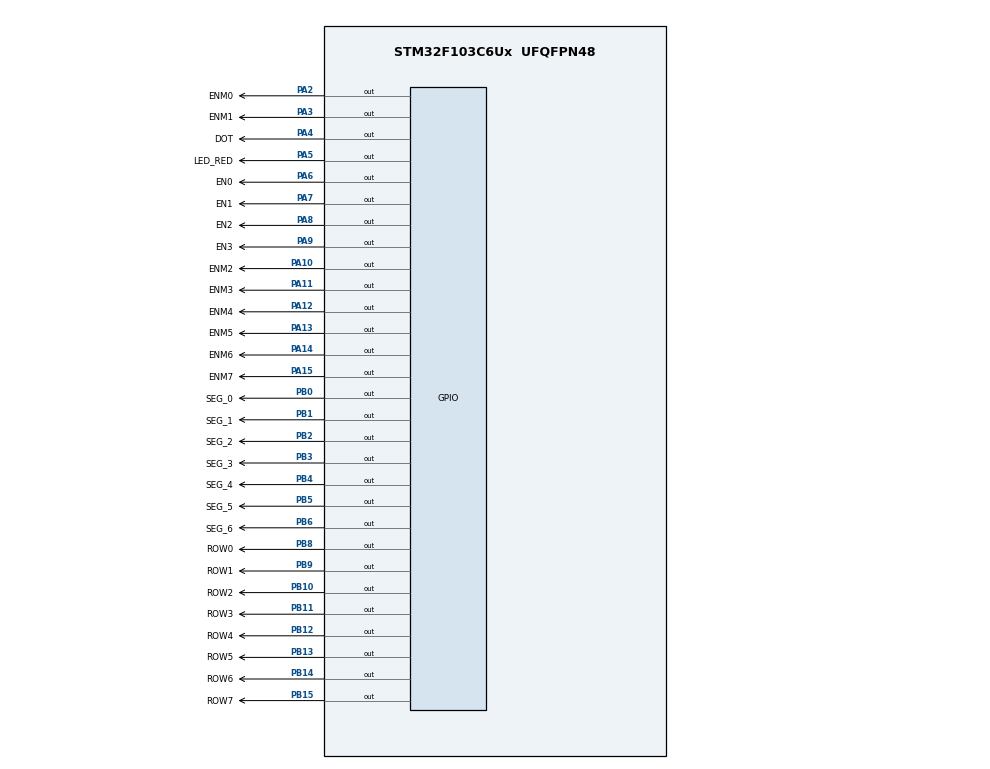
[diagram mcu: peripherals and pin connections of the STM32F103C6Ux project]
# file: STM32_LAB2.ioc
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Mcu.Family=STM32F1
Mcu.Name=STM32F103C6Ux
Mcu.Package=UFQFPN48
NVIC.PriorityGroup=NVIC_PRIORITYGROUP_4
NVIC.TIM2_IRQn=true\:0\:0\:false\:false\:true\:true\:true
PA10.GPIO_Label=ENM2
PA10.Signal=GPIO_Output
PA11.GPIO_Label=ENM3
PA11.Signal=GPIO_Output
PA12.GPIO_Label=ENM4
PA12.Signal=GPIO_Output
PA13.GPIO_Label=ENM5
PA13.Signal=GPIO_Output
PA14.GPIO_Label=ENM6
PA14.Signal=GPIO_Output
PA15.GPIO_Label=ENM7
PA15.Signal=GPIO_Output
PA2.GPIO_Label=ENM0
PA2.Signal=GPIO_Output
PA3.GPIO_Label=ENM1
PA3.Signal=GPIO_Output
PA4.GPIO_Label=DOT
PA4.GPIO_PuPd=GPIO_NOPULL
PA4.Signal=GPIO_Output
PA5.GPIO_Label=LED_RED
PA5.Signal=GPIO_Output
PA6.GPIO_Label=EN0
PA6.GPIO_PuPd=GPIO_NOPULL
PA6.Signal=GPIO_Output
PA7.GPIO_Label=EN1
PA7.GPIO_PuPd=GPIO_NOPULL
PA7.Signal=GPIO_Output
PA8.GPIO_Label=EN2
PA8.GPIO_PuPd=GPIO_NOPULL
PA8.Signal=GPIO_Output
PA9.GPIO_Label=EN3
PA9.GPIO_PuPd=GPIO_NOPULL
PA9.Signal=GPIO_Output
PB0.GPIO_Label=SEG_0
PB0.GPIO_PuPd=GPIO_NOPULL
PB0.Signal=GPIO_Output
PB1.GPIO_Label=SEG_1
PB1.GPIO_PuPd=GPIO_NOPULL
PB1.Signal=GPIO_Output
PB10.GPIO_Label=ROW2
PB10.Signal=GPIO_Output
PB11.GPIO_Label=ROW3
PB11.Signal=GPIO_Output
PB12.GPIO_Label=ROW4
PB12.Signal=GPIO_Output
PB13.GPIO_Label=ROW5
PB13.Signal=GPIO_Output
PB14.GPIO_Label=ROW6
PB14.Signal=GPIO_Output
PB15.GPIO_Label=ROW7
PB15.Signal=GPIO_Output
PB2.GPIO_Label=SEG_2
PB2.GPIO_PuPd=GPIO_NOPULL
PB2.Signal=GPIO_Output
PB3.GPIO_Label=SEG_3
PB3.GPIO_PuPd=GPIO_NOPULL
PB3.Signal=GPIO_Output
PB4.GPIO_Label=SEG_4
PB4.GPIO_PuPd=GPIO_NOPULL
PB4.Signal=GPIO_Output
PB5.GPIO_Label=SEG_5
PB5.GPIO_PuPd=GPIO_NOPULL
PB5.Signal=GPIO_Output
PB6.GPIO_Label=SEG_6
PB6.GPIO_PuPd=GPIO_NOPULL
PB6.Signal=GPIO_Output
PB8.GPIO_Label=ROW0
PB8.Signal=GPIO_Output
PB9.GPIO_Label=ROW1
PB9.Signal=GPIO_Output
ProjectManager.HeapSize=0x200
ProjectManager.StackSize=0x400
ProjectManager.TargetToolchain=STM32CubeIDE
RCC.APB1Freq_Value=8000000
RCC.APB2Freq_Value=8000000
TIM2.Period=9
TIM2.Prescaler=7999
VP_SYS_VS_ND.Mode=No_Debug
VP_TIM2_VS_ClockSourceINT.Mode=Internal
board=custom

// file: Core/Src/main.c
/* USER CODE BEGIN Header */
/**
  ******************************************************************************
  * @file           : main.c
  * @brief          : Main program body
  ******************************************************************************
  * @attention
  *
  * <h2><center>&copy; Copyright (c) 2024 STMicroelectronics.
  * All rights reserved.</center></h2>
  *
  * This software component is licensed by ST under BSD 3-Clause license,
  * the "License"; You may not use this file except in compliance with the
  * License. You may obtain a copy of the License at:
  *                        opensource.org/licenses/BSD-3-Clause
  *
  ******************************************************************************
  */
/* USER CODE END Header */
#include "main.h"

/* USER CODE BEGIN Includes */
#include "software_timer.h"
/* USER CODE END Includes */

TIM_HandleTypeDef htim2;

/* USER CODE BEGIN PV */
int status = 0;
const int MAX_LED = 4;
int index_led = 0;
int led_buffer [4] = {1, 2, 3, 4};
int hour = 15, minute = 8, second = 50;
const int MAX_LED_MATRIX = 8;
int index_led_matrix = 0;
//uint8_t matrix_buffer [8] = {0x01 , 0x02 , 0x03 , 0x04 , 0x05 , 0x06 , 0x07 , 0x08};
uint8_t matrix_buffer [8] = {0xFF , 0x03 , 0x01 , 0xCC , 0xCC , 0x01 , 0x03 , 0xFF};
uint8_t matrix_buffer1 [8] = {0x01 , 0x02 , 0x04 , 0x08 , 0x10 , 0x20 , 0x40 , 0x80};
/* USER CODE END PV */

void SystemClock_Config(void);
static void MX_TIM2_Init(void);
static void MX_GPIO_Init(void);

int main(void)
{

  /* MCU Configuration--------------------------------------------------------*/

  /* Reset of all peripherals, Initializes the Flash interface and the Systick. */
  HAL_Init();

  /* Configure the system clock */
  SystemClock_Config();

  /* Initialize all configured peripherals */
  MX_TIM2_Init();
  MX_GPIO_Init();
  /* USER CODE BEGIN 2 */
HAL_TIM_Base_Start_IT(&htim2);
  /* USER CODE END 2 */

  /* Infinite loop */
  /* USER CODE BEGIN WHILE */
setTimer(0, 30);
setTimer(1, 70);
setTimer(2, 57);
setTimer(3, 9);
setTimer(4, 22);
setTimer(5, 17);
setTimer(6, 11);
setTimer(7, 80);
//initEx1();
//initEx2();
//initEx3();
//initEx5();
  while (1)
  {
	  //Init BLINKY
	  if(timer_flag[0] == 1){
		  setTimer(0, 100);
		  HAL_GPIO_TogglePin(LED_RED_GPIO_Port, LED_RED_Pin);
	  }
	  //EX1
//	  if(timer_flag[1] == 1){
//		  setTimer(1, 50);
//		  switch(status){
//			  case 0:
//				  status = 1;
//				  HAL_GPIO_WritePin(EN0_GPIO_Port, EN0_Pin, SET);
//				  HAL_GPIO_WritePin(EN1_GPIO_Port, EN1_Pin, RESET);
//				  display7SEG(2);
//				  break;
//			  case 1:
//				  status = 0;
//				  HAL_GPIO_WritePin(EN0_GPIO_Port, EN0_Pin, RESET);
//				  HAL_GPIO_WritePin(EN1_GPIO_Port, EN1_Pin, SET);
//				  display7SEG(1);
//				  break;
//			  default:
//				  status = 0;
//
//		  }
//	  }
	  //EX2
//	  if(timer_flag[2] == 1){
//		  setTimer(2, 50);
//		  switch(status){
//			  case 0:
//				  status = 1;
//				  HAL_GPIO_WritePin(EN0_GPIO_Port, EN0_Pin, RESET);
//				  HAL_GPIO_WritePin(EN1_GPIO_Port, EN1_Pin, SET);
//				  HAL_GPIO_WritePin(EN2_GPIO_Port, EN2_Pin, SET);
//				  HAL_GPIO_WritePin(EN3_GPIO_Port, EN3_Pin, SET);
//				  display7SEG(1);
//				  HAL_GPIO_WritePin(DOT_GPIO_Port, DOT_Pin, RESET);
//				  break;
//			  case 1:
//				  status = 2;
//				  HAL_GPIO_WritePin(EN0_GPIO_Port, EN0_Pin, SET);
//				  HAL_GPIO_WritePin(EN1_GPIO_Port, EN1_Pin, RESET);
//				  HAL_GPIO_WritePin(EN2_GPIO_Port, EN2_Pin, SET);
//				  HAL_GPIO_WritePin(EN3_GPIO_Port, EN3_Pin, SET);
//				  display7SEG(2);
//				  break;
//			  case 2:
//				  status = 3;
//				  HAL_GPIO_WritePin(EN0_GPIO_Port, EN0_Pin, SET);
//				  HAL_GPIO_WritePin(EN1_GPIO_Port, EN1_Pin, SET);
//				  HAL_GPIO_WritePin(EN2_GPIO_Port, EN2_Pin, RESET);
//				  HAL_GPIO_WritePin(EN3_GPIO_Port, EN3_Pin, SET);
//				  display7SEG(3);
//				  HAL_GPIO_WritePin(DOT_GPIO_Port, DOT_Pin, SET);
//				  break;
//			  case 3:
//				  status = 0;
//				  HAL_GPIO_WritePin(EN0_GPIO_Port, EN0_Pin, SET);
//				  HAL_GPIO_WritePin(EN1_GPIO_Port, EN1_Pin, SET);
//				  HAL_GPIO_WritePin(EN2_GPIO_Port, EN2_Pin, SET);
//				  HAL_GPIO_WritePin(EN3_GPIO_Port, EN3_Pin, RESET);
//				  display7SEG(0);
//				  break;
//			  default:
//				  status = 0;
//		  }
//	  }
	  //EX3
	  if(timer_flag[3] == 1){
		  setTimer(3, 50);//EX4 setTimer(3, 100);
		  if(index_led >= MAX_LED || index_led < 0){
			  index_led = 0;
		  }
		  update7SEG(index_led++);
	  }
	  //DOT
	  if(timer_flag[4] == 1){
		  setTimer(4, 100);
		  HAL_GPIO_TogglePin(DOT_GPIO_Port, DOT_Pin);
	  }
	  //EX5
	  if(timer_flag[5] == 1){
		  setTimer(5, 100);
		  second++;
		  if ( second >= 60) {
		  second = 0;
		  minute ++;
		  }
		  if( minute >= 60) {
		  minute = 0;
		  hour ++;
		  }
		  if( hour >=24){
		  hour = 0;
		  }
		  updateClockBuffer ();
	  }
	  //EX9
	  if(timer_flag[7] == 0){
	  if(timer_flag[6] == 1){
		  setTimer(6, 1);
		  if(index_led_matrix >= MAX_LED_MATRIX || index_led_matrix < 0){
			  index_led_matrix = 0;
		  }
		  updateLEDMatrix(index_led_matrix++);
	  }
	  }
	  //EX10
	  if(timer_flag[7] == 1){
		  setTimer(7, 100);
		  for(int i = 0; i < MAX_LED_MATRIX; i++){
			  matrix_buffer[i] = matrix_buffer[(i+1)%8];
		  }
	  }
    /* USER CODE END WHILE */

  }
}

void SystemClock_Config(void)
{
  RCC_OscInitTypeDef RCC_OscInitStruct = {0};
  RCC_ClkInitTypeDef RCC_ClkInitStruct = {0};

  /** Initializes the RCC Oscillators according to the specified parameters
  * in the RCC_OscInitTypeDef structure.
  */
  RCC_OscInitStruct.OscillatorType = RCC_OSCILLATORTYPE_HSI;
  RCC_OscInitStruct.HSIState = RCC_HSI_ON;
  RCC_OscInitStruct.HSICalibrationValue = RCC_HSICALIBRATION_DEFAULT;
  RCC_OscInitStruct.PLL.PLLState = RCC_PLL_NONE;
  if (HAL_RCC_OscConfig(&RCC_OscInitStruct) != HAL_OK)
  {
    Error_Handler();
  }
  /** Initializes the CPU, AHB and APB buses clocks
  */
  RCC_ClkInitStruct.ClockType = RCC_CLOCKTYPE_HCLK|RCC_CLOCKTYPE_SYSCLK
                              |RCC_CLOCKTYPE_PCLK1|RCC_CLOCKTYPE_PCLK2;
  RCC_ClkInitStruct.SYSCLKSource = RCC_SYSCLKSOURCE_HSI;
  RCC_ClkInitStruct.AHBCLKDivider = RCC_SYSCLK_DIV1;
  RCC_ClkInitStruct.APB1CLKDivider = RCC_HCLK_DIV1;
  RCC_ClkInitStruct.APB2CLKDivider = RCC_HCLK_DIV1;

  if (HAL_RCC_ClockConfig(&RCC_ClkInitStruct, FLASH_LATENCY_0) != HAL_OK)
  {
    Error_Handler();
  }
}

static void MX_TIM2_Init(void)
{

  TIM_ClockConfigTypeDef sClockSourceConfig = {0};
  TIM_MasterConfigTypeDef sMasterConfig = {0};

  htim2.Instance = TIM2;
  htim2.Init.Prescaler = 7999;
  htim2.Init.CounterMode = TIM_COUNTERMODE_UP;
  htim2.Init.Period = 9;
  htim2.Init.ClockDivision = TIM_CLOCKDIVISION_DIV1;
  htim2.Init.AutoReloadPreload = TIM_AUTORELOAD_PRELOAD_DISABLE;
  if (HAL_TIM_Base_Init(&htim2) != HAL_OK)
  {
    Error_Handler();
  }
  sClockSourceConfig.ClockSource = TIM_CLOCKSOURCE_INTERNAL;
  if (HAL_TIM_ConfigClockSource(&htim2, &sClockSourceConfig) != HAL_OK)
  {
    Error_Handler();
  }
  sMasterConfig.MasterOutputTrigger = TIM_TRGO_RESET;
  sMasterConfig.MasterSlaveMode = TIM_MASTERSLAVEMODE_DISABLE;
  if (HAL_TIMEx_MasterConfigSynchronization(&htim2, &sMasterConfig) != HAL_OK)
  {
    Error_Handler();
  }

}

static void MX_GPIO_Init(void)
{
  GPIO_InitTypeDef GPIO_InitStruct = {0};

  /* GPIO Ports Clock Enable */
  __HAL_RCC_GPIOA_CLK_ENABLE();
  __HAL_RCC_GPIOB_CLK_ENABLE();

  /*Configure GPIO pin Output Level */
  HAL_GPIO_WritePin(GPIOA, ENM0_Pin|ENM1_Pin|DOT_Pin|LED_RED_Pin
                          |EN0_Pin|EN1_Pin|EN2_Pin|EN3_Pin
                          |ENM2_Pin|ENM3_Pin|ENM4_Pin|ENM5_Pin
                          |ENM6_Pin|ENM7_Pin, GPIO_PIN_RESET);

  /*Configure GPIO pin Output Level */
  HAL_GPIO_WritePin(GPIOB, SEG_0_Pin|SEG_1_Pin|SEG_2_Pin|ROW2_Pin
                          |ROW3_Pin|ROW4_Pin|ROW5_Pin|ROW6_Pin
                          |ROW7_Pin|SEG_3_Pin|SEG_4_Pin|SEG_5_Pin
                          |SEG_6_Pin|ROW0_Pin|ROW1_Pin, GPIO_PIN_RESET);

  /*Configure GPIO pins : ENM0_Pin ENM1_Pin DOT_Pin LED_RED_Pin
                           EN0_Pin EN1_Pin EN2_Pin EN3_Pin
                           ENM2_Pin ENM3_Pin ENM4_Pin ENM5_Pin
                           ENM6_Pin ENM7_Pin */
  GPIO_InitStruct.Pin = ENM0_Pin|ENM1_Pin|DOT_Pin|LED_RED_Pin
                          |EN0_Pin|EN1_Pin|EN2_Pin|EN3_Pin
                          |ENM2_Pin|ENM3_Pin|ENM4_Pin|ENM5_Pin
                          |ENM6_Pin|ENM7_Pin;
  GPIO_InitStruct.Mode = GPIO_MODE_OUTPUT_PP;
  GPIO_InitStruct.Pull = GPIO_NOPULL;
  GPIO_InitStruct.Speed = GPIO_SPEED_FREQ_LOW;
  HAL_GPIO_Init(GPIOA, &GPIO_InitStruct);

  /*Configure GPIO pins : SEG_0_Pin SEG_1_Pin SEG_2_Pin ROW2_Pin
                           ROW3_Pin ROW4_Pin ROW5_Pin ROW6_Pin
                           ROW7_Pin SEG_3_Pin SEG_4_Pin SEG_5_Pin
                           SEG_6_Pin ROW0_Pin ROW1_Pin */
  GPIO_InitStruct.Pin = SEG_0_Pin|SEG_1_Pin|SEG_2_Pin|ROW2_Pin
                          |ROW3_Pin|ROW4_Pin|ROW5_Pin|ROW6_Pin
                          |ROW7_Pin|SEG_3_Pin|SEG_4_Pin|SEG_5_Pin
                          |SEG_6_Pin|ROW0_Pin|ROW1_Pin;
  GPIO_InitStruct.Mode = GPIO_MODE_OUTPUT_PP;
  GPIO_InitStruct.Pull = GPIO_NOPULL;
  GPIO_InitStruct.Speed = GPIO_SPEED_FREQ_LOW;
  HAL_GPIO_Init(GPIOB, &GPIO_InitStruct);

}

/* USER CODE BEGIN 4 */
void HAL_TIM_PeriodElapsedCallback(TIM_HandleTypeDef *htim){
	for(int i = 0; i < no_timer; i++){
		runTimer(i);
	}
}
void display7SEG(int num){
	switch(num){
		case 0:
			HAL_GPIO_WritePin(SEG_0_GPIO_Port, SEG_0_Pin, RESET);
			HAL_GPIO_WritePin(SEG_1_GPIO_Port, SEG_1_Pin, RESET);
			HAL_GPIO_WritePin(SEG_2_GPIO_Port, SEG_2_Pin, RESET);
			HAL_GPIO_WritePin(SEG_3_GPIO_Port, SEG_3_Pin, RESET);
			HAL_GPIO_WritePin(SEG_4_GPIO_Port, SEG_4_Pin, RESET);
			HAL_GPIO_WritePin(SEG_5_GPIO_Port, SEG_5_Pin, RESET);
			HAL_GPIO_WritePin(SEG_6_GPIO_Port, SEG_6_Pin, SET);
			break;
		case 1:
			HAL_GPIO_WritePin(SEG_0_GPIO_Port, SEG_0_Pin, SET);
			HAL_GPIO_WritePin(SEG_1_GPIO_Port, SEG_1_Pin, RESET);
			HAL_GPIO_WritePin(SEG_2_GPIO_Port, SEG_2_Pin, RESET);
			HAL_GPIO_WritePin(SEG_3_GPIO_Port, SEG_3_Pin, SET);
			HAL_GPIO_WritePin(SEG_4_GPIO_Port, SEG_4_Pin, SET);
			HAL_GPIO_WritePin(SEG_5_GPIO_Port, SEG_5_Pin, SET);
			HAL_GPIO_WritePin(SEG_6_GPIO_Port, SEG_6_Pin, SET);
			break;
		case 2:
			HAL_GPIO_WritePin(SEG_0_GPIO_Port, SEG_0_Pin, RESET);
			HAL_GPIO_WritePin(SEG_1_GPIO_Port, SEG_1_Pin, RESET);
			HAL_GPIO_WritePin(SEG_2_GPIO_Port, SEG_2_Pin, SET);
			HAL_GPIO_WritePin(SEG_3_GPIO_Port, SEG_3_Pin, RESET);
			HAL_GPIO_WritePin(SEG_4_GPIO_Port, SEG_4_Pin, RESET);
			HAL_GPIO_WritePin(SEG_5_GPIO_Port, SEG_5_Pin, SET);
			HAL_GPIO_WritePin(SEG_6_GPIO_Port, SEG_6_Pin, RESET);
			break;
		case 3:
			HAL_GPIO_WritePin(SEG_0_GPIO_Port, SEG_0_Pin, RESET);
			HAL_GPIO_WritePin(SEG_1_GPIO_Port, SEG_1_Pin, RESET);
			HAL_GPIO_WritePin(SEG_2_GPIO_Port, SEG_2_Pin, RESET);
			HAL_GPIO_WritePin(SEG_3_GPIO_Port, SEG_3_Pin, RESET);
			HAL_GPIO_WritePin(SEG_4_GPIO_Port, SEG_4_Pin, SET);
			HAL_GPIO_WritePin(SEG_5_GPIO_Port, SEG_5_Pin, SET);
			HAL_GPIO_WritePin(SEG_6_GPIO_Port, SEG_6_Pin, RESET);
			break;
		case 4:
			HAL_GPIO_WritePin(SEG_0_GPIO_Port, SEG_0_Pin, SET);
			HAL_GPIO_WritePin(SEG_1_GPIO_Port, SEG_1_Pin, RESET);
			HAL_GPIO_WritePin(SEG_2_GPIO_Port, SEG_2_Pin, RESET);
			HAL_GPIO_WritePin(SEG_3_GPIO_Port, SEG_3_Pin, SET);
			HAL_GPIO_WritePin(SEG_4_GPIO_Port, SEG_4_Pin, SET);
			HAL_GPIO_WritePin(SEG_5_GPIO_Port, SEG_5_Pin, RESET);
			HAL_GPIO_WritePin(SEG_6_GPIO_Port, SEG_6_Pin, RESET);
			break;
		case 5:
			HAL_GPIO_WritePin(SEG_0_GPIO_Port, SEG_0_Pin, RESET);
			HAL_GPIO_WritePin(SEG_1_GPIO_Port, SEG_1_Pin, SET);
			HAL_GPIO_WritePin(SEG_2_GPIO_Port, SEG_2_Pin, RESET);
			HAL_GPIO_WritePin(SEG_3_GPIO_Port, SEG_3_Pin, RESET);
			HAL_GPIO_WritePin(SEG_4_GPIO_Port, SEG_4_Pin, SET);
			HAL_GPIO_WritePin(SEG_5_GPIO_Port, SEG_5_Pin, RESET);
			HAL_GPIO_WritePin(SEG_6_GPIO_Port, SEG_6_Pin, RESET);
			break;
		case 6:
			HAL_GPIO_WritePin(SEG_0_GPIO_Port, SEG_0_Pin, RESET);
			HAL_GPIO_WritePin(SEG_1_GPIO_Port, SEG_1_Pin, SET);
			HAL_GPIO_WritePin(SEG_2_GPIO_Port, SEG_2_Pin, RESET);
			HAL_GPIO_WritePin(SEG_3_GPIO_Port, SEG_3_Pin, RESET);
			HAL_GPIO_WritePin(SEG_4_GPIO_Port, SEG_4_Pin, RESET);
			HAL_GPIO_WritePin(SEG_5_GPIO_Port, SEG_5_Pin, RESET);
			HAL_GPIO_WritePin(SEG_6_GPIO_Port, SEG_6_Pin, RESET);
			break;
		case 7:
			HAL_GPIO_WritePin(SEG_0_GPIO_Port, SEG_0_Pin, RESET);
			HAL_GPIO_WritePin(SEG_1_GPIO_Port, SEG_1_Pin, RESET);
			HAL_GPIO_WritePin(SEG_2_GPIO_Port, SEG_2_Pin, RESET);
			HAL_GPIO_WritePin(SEG_3_GPIO_Port, SEG_3_Pin, SET);
			HAL_GPIO_WritePin(SEG_4_GPIO_Port, SEG_4_Pin, SET);
			HAL_GPIO_WritePin(SEG_5_GPIO_Port, SEG_5_Pin, SET);
			HAL_GPIO_WritePin(SEG_6_GPIO_Port, SEG_6_Pin, SET);
			break;
		case 8:
			HAL_GPIO_WritePin(SEG_0_GPIO_Port, SEG_0_Pin, RESET);
			HAL_GPIO_WritePin(SEG_1_GPIO_Port, SEG_1_Pin, RESET);
			HAL_GPIO_WritePin(SEG_2_GPIO_Port, SEG_2_Pin, RESET);
			HAL_GPIO_WritePin(SEG_3_GPIO_Port, SEG_3_Pin, RESET);
			HAL_GPIO_WritePin(SEG_4_GPIO_Port, SEG_4_Pin, RESET);
			HAL_GPIO_WritePin(SEG_5_GPIO_Port, SEG_5_Pin, RESET);
			HAL_GPIO_WritePin(SEG_6_GPIO_Port, SEG_6_Pin, RESET);
			break;
		case 9:
			HAL_GPIO_WritePin(SEG_0_GPIO_Port, SEG_0_Pin, RESET);
			HAL_GPIO_WritePin(SEG_1_GPIO_Port, SEG_1_Pin, RESET);
			HAL_GPIO_WritePin(SEG_2_GPIO_Port, SEG_2_Pin, RESET);
			HAL_GPIO_WritePin(SEG_3_GPIO_Port, SEG_3_Pin, RESET);
			HAL_GPIO_WritePin(SEG_4_GPIO_Port, SEG_4_Pin, SET);
			HAL_GPIO_WritePin(SEG_5_GPIO_Port, SEG_5_Pin, RESET);
			HAL_GPIO_WritePin(SEG_6_GPIO_Port, SEG_6_Pin, RESET);
	}
}
void initEx1(){
	status = 0;
	display7SEG(1);
}
void initEx2(){
	  status = 0;
	  HAL_GPIO_WritePin(EN0_GPIO_Port, EN0_Pin, RESET);
	  HAL_GPIO_WritePin(EN1_GPIO_Port, EN1_Pin, SET);
	  HAL_GPIO_WritePin(EN2_GPIO_Port, EN2_Pin, SET);
	  HAL_GPIO_WritePin(EN3_GPIO_Port, EN3_Pin, SET);
	  display7SEG(1);
}
void initEx3(){
	  HAL_GPIO_WritePin(EN0_GPIO_Port, EN0_Pin, RESET);
	  HAL_GPIO_WritePin(EN1_GPIO_Port, EN1_Pin, SET);
	  HAL_GPIO_WritePin(EN2_GPIO_Port, EN2_Pin, SET);
	  HAL_GPIO_WritePin(EN3_GPIO_Port, EN3_Pin, SET);
}
void initEx5(){

}
void update7SEG(int index){
	switch (index){
		case 0:
		// Display the first 7 SEG with led_buffer [0]
			HAL_GPIO_WritePin(EN0_GPIO_Port, EN0_Pin, RESET);
			HAL_GPIO_WritePin(EN1_GPIO_Port, EN1_Pin, SET);
			HAL_GPIO_WritePin(EN2_GPIO_Port, EN2_Pin, SET);
			HAL_GPIO_WritePin(EN3_GPIO_Port, EN3_Pin, SET);
			display7SEG(led_buffer[0]);
		break ;
		case 1:
		// Display the second 7 SEG with led_buffer [1]
			HAL_GPIO_WritePin(EN0_GPIO_Port, EN0_Pin, SET);
			HAL_GPIO_WritePin(EN1_GPIO_Port, EN1_Pin, RESET);
			HAL_GPIO_WritePin(EN2_GPIO_Port, EN2_Pin, SET);
			HAL_GPIO_WritePin(EN3_GPIO_Port, EN3_Pin, SET);
			display7SEG(led_buffer[1]);
		break ;
		case 2:
		// Display the third 7 SEG with led_buffer [2]
			HAL_GPIO_WritePin(EN0_GPIO_Port, EN0_Pin, SET);
			HAL_GPIO_WritePin(EN1_GPIO_Port, EN1_Pin, SET);
			HAL_GPIO_WritePin(EN2_GPIO_Port, EN2_Pin, RESET);
			HAL_GPIO_WritePin(EN3_GPIO_Port, EN3_Pin, SET);
			display7SEG(led_buffer[2]);
		break ;
		case 3:
		// Display the forth 7 SEG with led_buffer [3]
			HAL_GPIO_WritePin(EN0_GPIO_Port, EN0_Pin, SET);
			HAL_GPIO_WritePin(EN1_GPIO_Port, EN1_Pin, SET);
			HAL_GPIO_WritePin(EN2_GPIO_Port, EN2_Pin, SET);
			HAL_GPIO_WritePin(EN3_GPIO_Port, EN3_Pin, RESET);
			display7SEG(led_buffer[3]);
		break ;
		default :
			display7SEG(led_buffer[0]);
		break ;
	}
}
void updateClockBuffer(){
	led_buffer[0] = hour/10;
	led_buffer[1] = hour%10;
	led_buffer[2] = minute/10;
	led_buffer[3] = minute%10;
}
void updateLEDMatrix(int index){
	switch (index){
		case 0:
			HAL_GPIO_WritePin(ENM0_GPIO_Port, ENM0_Pin, RESET);
			HAL_GPIO_WritePin(ENM1_GPIO_Port, ENM1_Pin, SET);
			HAL_GPIO_WritePin(ENM2_GPIO_Port, ENM2_Pin, SET);
			HAL_GPIO_WritePin(ENM3_GPIO_Port, ENM3_Pin, SET);
			HAL_GPIO_WritePin(ENM4_GPIO_Port, ENM4_Pin, SET);
			HAL_GPIO_WritePin(ENM5_GPIO_Port, ENM5_Pin, SET);
			HAL_GPIO_WritePin(ENM6_GPIO_Port, ENM6_Pin, SET);
			HAL_GPIO_WritePin(ENM7_GPIO_Port, ENM7_Pin, SET);
			HAL_GPIO_WritePin(ROW0_GPIO_Port, ROW0_Pin, matrix_buffer[0]&matrix_buffer1[0]);
			HAL_GPIO_WritePin(ROW1_GPIO_Port, ROW1_Pin, matrix_buffer[0]&matrix_buffer1[1]);
			HAL_GPIO_WritePin(ROW2_GPIO_Port, ROW2_Pin, matrix_buffer[0]&matrix_buffer1[2]);
			HAL_GPIO_WritePin(ROW3_GPIO_Port, ROW3_Pin, matrix_buffer[0]&matrix_buffer1[3]);
			HAL_GPIO_WritePin(ROW4_GPIO_Port, ROW4_Pin, matrix_buffer[0]&matrix_buffer1[4]);
			HAL_GPIO_WritePin(ROW5_GPIO_Port, ROW5_Pin, matrix_buffer[0]&matrix_buffer1[5]);
			HAL_GPIO_WritePin(ROW6_GPIO_Port, ROW6_Pin, matrix_buffer[0]&matrix_buffer1[6]);
			HAL_GPIO_WritePin(ROW7_GPIO_Port, ROW7_Pin, matrix_buffer[0]&matrix_buffer1[7]);
			break;
		case 1:
			HAL_GPIO_WritePin(ENM0_GPIO_Port, ENM0_Pin, SET);
			HAL_GPIO_WritePin(ENM1_GPIO_Port, ENM1_Pin, RESET);
			HAL_GPIO_WritePin(ENM2_GPIO_Port, ENM2_Pin, SET);
			HAL_GPIO_WritePin(ENM3_GPIO_Port, ENM3_Pin, SET);
			HAL_GPIO_WritePin(ENM4_GPIO_Port, ENM4_Pin, SET);
			HAL_GPIO_WritePin(ENM5_GPIO_Port, ENM5_Pin, SET);
			HAL_GPIO_WritePin(ENM6_GPIO_Port, ENM6_Pin, SET);
			HAL_GPIO_WritePin(ENM7_GPIO_Port, ENM7_Pin, SET);
			HAL_GPIO_WritePin(ROW0_GPIO_Port, ROW0_Pin, matrix_buffer[1]&matrix_buffer1[0]);
			HAL_GPIO_WritePin(ROW1_GPIO_Port, ROW1_Pin, matrix_buffer[1]&matrix_buffer1[1]);
			HAL_GPIO_WritePin(ROW2_GPIO_Port, ROW2_Pin, matrix_buffer[1]&matrix_buffer1[2]);
			HAL_GPIO_WritePin(ROW3_GPIO_Port, ROW3_Pin, matrix_buffer[1]&matrix_buffer1[3]);
			HAL_GPIO_WritePin(ROW4_GPIO_Port, ROW4_Pin, matrix_buffer[1]&matrix_buffer1[4]);
			HAL_GPIO_WritePin(ROW5_GPIO_Port, ROW5_Pin, matrix_buffer[1]&matrix_buffer1[5]);
			HAL_GPIO_WritePin(ROW6_GPIO_Port, ROW6_Pin, matrix_buffer[1]&matrix_buffer1[6]);
			HAL_GPIO_WritePin(ROW7_GPIO_Port, ROW7_Pin, matrix_buffer[1]&matrix_buffer1[7]);
			break;
		case 2:
			HAL_GPIO_WritePin(ENM0_GPIO_Port, ENM0_Pin, SET);
			HAL_GPIO_WritePin(ENM1_GPIO_Port, ENM1_Pin, SET);
			HAL_GPIO_WritePin(ENM2_GPIO_Port, ENM2_Pin, RESET);
			HAL_GPIO_WritePin(ENM3_GPIO_Port, ENM3_Pin, SET);
			HAL_GPIO_WritePin(ENM4_GPIO_Port, ENM4_Pin, SET);
			HAL_GPIO_WritePin(ENM5_GPIO_Port, ENM5_Pin, SET);
			HAL_GPIO_WritePin(ENM6_GPIO_Port, ENM6_Pin, SET);
			HAL_GPIO_WritePin(ENM7_GPIO_Port, ENM7_Pin, SET);
			HAL_GPIO_WritePin(ROW0_GPIO_Port, ROW0_Pin, matrix_buffer[2]&matrix_buffer1[0]);
			HAL_GPIO_WritePin(ROW1_GPIO_Port, ROW1_Pin, matrix_buffer[2]&matrix_buffer1[1]);
			HAL_GPIO_WritePin(ROW2_GPIO_Port, ROW2_Pin, matrix_buffer[2]&matrix_buffer1[2]);
			HAL_GPIO_WritePin(ROW3_GPIO_Port, ROW3_Pin, matrix_buffer[2]&matrix_buffer1[3]);
			HAL_GPIO_WritePin(ROW4_GPIO_Port, ROW4_Pin, matrix_buffer[2]&matrix_buffer1[4]);
			HAL_GPIO_WritePin(ROW5_GPIO_Port, ROW5_Pin, matrix_buffer[2]&matrix_buffer1[5]);
			HAL_GPIO_WritePin(ROW6_GPIO_Port, ROW6_Pin, matrix_buffer[2]&matrix_buffer1[6]);
			HAL_GPIO_WritePin(ROW7_GPIO_Port, ROW7_Pin, matrix_buffer[2]&matrix_buffer1[7]);
			break;
		case 3:
			HAL_GPIO_WritePin(ENM0_GPIO_Port, ENM0_Pin, SET);
			HAL_GPIO_WritePin(ENM1_GPIO_Port, ENM1_Pin, SET);
			HAL_GPIO_WritePin(ENM2_GPIO_Port, ENM2_Pin, SET);
			HAL_GPIO_WritePin(ENM3_GPIO_Port, ENM3_Pin, RESET);
			HAL_GPIO_WritePin(ENM4_GPIO_Port, ENM4_Pin, SET);
			HAL_GPIO_WritePin(ENM5_GPIO_Port, ENM5_Pin, SET);
			HAL_GPIO_WritePin(ENM6_GPIO_Port, ENM6_Pin, SET);
			HAL_GPIO_WritePin(ENM7_GPIO_Port, ENM7_Pin, SET);
			HAL_GPIO_WritePin(ROW0_GPIO_Port, ROW0_Pin, matrix_buffer[3]&matrix_buffer1[0]);
			HAL_GPIO_WritePin(ROW1_GPIO_Port, ROW1_Pin, matrix_buffer[3]&matrix_buffer1[1]);
			HAL_GPIO_WritePin(ROW2_GPIO_Port, ROW2_Pin, matrix_buffer[3]&matrix_buffer1[2]);
			HAL_GPIO_WritePin(ROW3_GPIO_Port, ROW3_Pin, matrix_buffer[3]&matrix_buffer1[3]);
			HAL_GPIO_WritePin(ROW4_GPIO_Port, ROW4_Pin, matrix_buffer[3]&matrix_buffer1[4]);
			HAL_GPIO_WritePin(ROW5_GPIO_Port, ROW5_Pin, matrix_buffer[3]&matrix_buffer1[5]);
			HAL_GPIO_WritePin(ROW6_GPIO_Port, ROW6_Pin, matrix_buffer[3]&matrix_buffer1[6]);
			HAL_GPIO_WritePin(ROW7_GPIO_Port, ROW7_Pin, matrix_buffer[3]&matrix_buffer1[7]);
			break;
		case 4:
			HAL_GPIO_WritePin(ENM0_GPIO_Port, ENM0_Pin, SET);
			HAL_GPIO_WritePin(ENM1_GPIO_Port, ENM1_Pin, SET);
			HAL_GPIO_WritePin(ENM2_GPIO_Port, ENM2_Pin, SET);
			HAL_GPIO_WritePin(ENM3_GPIO_Port, ENM3_Pin, SET);
			HAL_GPIO_WritePin(ENM4_GPIO_Port, ENM4_Pin, RESET);
			HAL_GPIO_WritePin(ENM5_GPIO_Port, ENM5_Pin, SET);
			HAL_GPIO_WritePin(ENM6_GPIO_Port, ENM6_Pin, SET);
			HAL_GPIO_WritePin(ENM7_GPIO_Port, ENM7_Pin, SET);
			HAL_GPIO_WritePin(ROW0_GPIO_Port, ROW0_Pin, matrix_buffer[4]&matrix_buffer1[0]);
			HAL_GPIO_WritePin(ROW1_GPIO_Port, ROW1_Pin, matrix_buffer[4]&matrix_buffer1[1]);
			HAL_GPIO_WritePin(ROW2_GPIO_Port, ROW2_Pin, matrix_buffer[4]&matrix_buffer1[2]);
			HAL_GPIO_WritePin(ROW3_GPIO_Port, ROW3_Pin, matrix_buffer[4]&matrix_buffer1[3]);
			HAL_GPIO_WritePin(ROW4_GPIO_Port, ROW4_Pin, matrix_buffer[4]&matrix_buffer1[4]);
			HAL_GPIO_WritePin(ROW5_GPIO_Port, ROW5_Pin, matrix_buffer[4]&matrix_buffer1[5]);
			HAL_GPIO_WritePin(ROW6_GPIO_Port, ROW6_Pin, matrix_buffer[4]&matrix_buffer1[6]);
			HAL_GPIO_WritePin(ROW7_GPIO_Port, ROW7_Pin, matrix_buffer[4]&matrix_buffer1[7]);
			break;
		case 5:
			HAL_GPIO_WritePin(ENM0_GPIO_Port, ENM0_Pin, SET);
			HAL_GPIO_WritePin(ENM1_GPIO_Port, ENM1_Pin, SET);
			HAL_GPIO_WritePin(ENM2_GPIO_Port, ENM2_Pin, SET);
			HAL_GPIO_WritePin(ENM3_GPIO_Port, ENM3_Pin, SET);
			HAL_GPIO_WritePin(ENM4_GPIO_Port, ENM4_Pin, SET);
			HAL_GPIO_WritePin(ENM5_GPIO_Port, ENM5_Pin, RESET);
			HAL_GPIO_WritePin(ENM6_GPIO_Port, ENM6_Pin, SET);
			HAL_GPIO_WritePin(ENM7_GPIO_Port, ENM7_Pin, SET);
			HAL_GPIO_WritePin(ROW0_GPIO_Port, ROW0_Pin, matrix_buffer[5]&matrix_buffer1[0]);
			HAL_GPIO_WritePin(ROW1_GPIO_Port, ROW1_Pin, matrix_buffer[5]&matrix_buffer1[1]);
			HAL_GPIO_WritePin(ROW2_GPIO_Port, ROW2_Pin, matrix_buffer[5]&matrix_buffer1[2]);
			HAL_GPIO_WritePin(ROW3_GPIO_Port, ROW3_Pin, matrix_buffer[5]&matrix_buffer1[3]);
			HAL_GPIO_WritePin(ROW4_GPIO_Port, ROW4_Pin, matrix_buffer[5]&matrix_buffer1[4]);
			HAL_GPIO_WritePin(ROW5_GPIO_Port, ROW5_Pin, matrix_buffer[5]&matrix_buffer1[5]);
			HAL_GPIO_WritePin(ROW6_GPIO_Port, ROW6_Pin, matrix_buffer[5]&matrix_buffer1[6]);
			HAL_GPIO_WritePin(ROW7_GPIO_Port, ROW7_Pin, matrix_buffer[5]&matrix_buffer1[7]);
			break;
		case 6:
			HAL_GPIO_WritePin(ENM0_GPIO_Port, ENM0_Pin, SET);
			HAL_GPIO_WritePin(ENM1_GPIO_Port, ENM1_Pin, SET);
			HAL_GPIO_WritePin(ENM2_GPIO_Port, ENM2_Pin, SET);
			HAL_GPIO_WritePin(ENM3_GPIO_Port, ENM3_Pin, SET);
			HAL_GPIO_WritePin(ENM4_GPIO_Port, ENM4_Pin, SET);
			HAL_GPIO_WritePin(ENM5_GPIO_Port, ENM5_Pin, SET);
			HAL_GPIO_WritePin(ENM6_GPIO_Port, ENM6_Pin, RESET);
			HAL_GPIO_WritePin(ENM7_GPIO_Port, ENM7_Pin, SET);
			HAL_GPIO_WritePin(ROW0_GPIO_Port, ROW0_Pin, matrix_buffer[6]&matrix_buffer1[0]);
			HAL_GPIO_WritePin(ROW1_GPIO_Port, ROW1_Pin, matrix_buffer[6]&matrix_buffer1[1]);
			HAL_GPIO_WritePin(ROW2_GPIO_Port, ROW2_Pin, matrix_buffer[6]&matrix_buffer1[2]);
			HAL_GPIO_WritePin(ROW3_GPIO_Port, ROW3_Pin, matrix_buffer[6]&matrix_buffer1[3]);
			HAL_GPIO_WritePin(ROW4_GPIO_Port, ROW4_Pin, matrix_buffer[6]&matrix_buffer1[4]);
			HAL_GPIO_WritePin(ROW5_GPIO_Port, ROW5_Pin, matrix_buffer[6]&matrix_buffer1[5]);
			HAL_GPIO_WritePin(ROW6_GPIO_Port, ROW6_Pin, matrix_buffer[6]&matrix_buffer1[6]);
			HAL_GPIO_WritePin(ROW7_GPIO_Port, ROW7_Pin, matrix_buffer[6]&matrix_buffer1[7]);
			break;
		case 7:
			HAL_GPIO_WritePin(ENM0_GPIO_Port, ENM0_Pin, SET);
			HAL_GPIO_WritePin(ENM1_GPIO_Port, ENM1_Pin, SET);
			HAL_GPIO_WritePin(ENM2_GPIO_Port, ENM2_Pin, SET);
			HAL_GPIO_WritePin(ENM3_GPIO_Port, ENM3_Pin, SET);
			HAL_GPIO_WritePin(ENM4_GPIO_Port, ENM4_Pin, SET);
			HAL_GPIO_WritePin(ENM5_GPIO_Port, ENM5_Pin, SET);
			HAL_GPIO_WritePin(ENM6_GPIO_Port, ENM6_Pin, SET);
			HAL_GPIO_WritePin(ENM7_GPIO_Port, ENM7_Pin, RESET);
			HAL_GPIO_WritePin(ROW0_GPIO_Port, ROW0_Pin, matrix_buffer[7]&matrix_buffer1[0]);
			HAL_GPIO_WritePin(ROW1_GPIO_Port, ROW1_Pin, matrix_buffer[7]&matrix_buffer1[1]);
			HAL_GPIO_WritePin(ROW2_GPIO_Port, ROW2_Pin, matrix_buffer[7]&matrix_buffer1[2]);
			HAL_GPIO_WritePin(ROW3_GPIO_Port, ROW3_Pin, matrix_buffer[7]&matrix_buffer1[3]);
			HAL_GPIO_WritePin(ROW4_GPIO_Port, ROW4_Pin, matrix_buffer[7]&matrix_buffer1[4]);
			HAL_GPIO_WritePin(ROW5_GPIO_Port, ROW5_Pin, matrix_buffer[7]&matrix_buffer1[5]);
			HAL_GPIO_WritePin(ROW6_GPIO_Port, ROW6_Pin, matrix_buffer[7]&matrix_buffer1[6]);
			HAL_GPIO_WritePin(ROW7_GPIO_Port, ROW7_Pin, matrix_buffer[7]&matrix_buffer1[7]);
			break;
		default:
			break;
	}
}
/* USER CODE END 4 */

void Error_Handler(void)
{
  __disable_irq();
  while (1)
  {
  }
}

/************************ (C) COPYRIGHT STMicroelectronics *****END OF FILE****/
